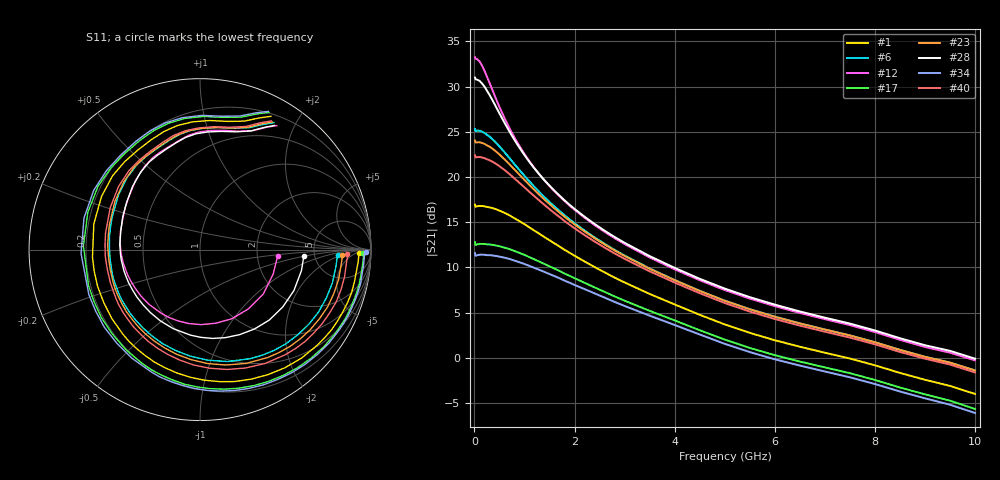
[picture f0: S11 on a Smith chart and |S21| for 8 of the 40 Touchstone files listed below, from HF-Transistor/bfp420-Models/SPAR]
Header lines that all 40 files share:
! Infineon Technologies  Discrete & RF Semiconductors
! BFP420
! Common Emitter S-Parameters:  Nov 2009
# GHz  S  MA  R  50
!  f  S11  S21  S12  S22
! GHz  MAG  ANG  MAG  ANG  MAG  ANG  MAG  ANG
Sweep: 10 MHz to 10 GHz
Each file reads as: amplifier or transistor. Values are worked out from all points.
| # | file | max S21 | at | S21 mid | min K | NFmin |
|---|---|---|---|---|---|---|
| 1 | 2p1V52M0.s2p | 17.0 dB | 10 MHz | 12.3 dB at 1.7 GHz | -0.08 | 0.53 dB |
| 2 | 2p1V52M5.s2p | 18.7 dB | 10 MHz | 13.4 dB at 1.7 GHz | 0.02 | 0.55 dB |
| 3 | 2p1V53M0.s2p | 20.2 dB | 10 MHz | 14.1 dB at 1.7 GHz | -0.02 | 0.57 dB |
| 4 | 2p1V54M0.s2p | 22.4 dB | 10 MHz | 15.1 dB at 1.7 GHz | -0.12 | 0.61 dB |
| 5 | 2p1V55M0.s2p | 24.0 dB | 10 MHz | 15.8 dB at 1.7 GHz | 0.05 | 0.66 dB |
| 6 | 2p1V56M0.s2p | 25.3 dB | 10 MHz | 16.2 dB at 1.7 GHz | 0.06 | 0.70 dB |
| 7 | 2p1V58M0.s2p | 27.3 dB | 10 MHz | 16.8 dB at 1.7 GHz | 0.08 | 0.79 dB |
| 8 | 2p1V59M0.s2p | 28.0 dB | 10 MHz | 17.0 dB at 1.7 GHz | 0.09 | - |
| 9 | 2p1V512M.s2p | 29.7 dB | 10 MHz | 17.4 dB at 1.7 GHz | 0.11 | 0.95 dB |
| 10 | 2p1V515M.s2p | 31.0 dB | 10 MHz | 17.6 dB at 1.7 GHz | 0.13 | 1.06 dB |
| 11 | 2p1V520M.s2p | 32.3 dB | 10 MHz | 17.8 dB at 1.7 GHz | 0.18 | 1.23 dB |
| 12 | 2p1V525M.s2p | 33.2 dB | 10 MHz | 17.9 dB at 1.7 GHz | 0.21 | 1.38 dB |
| 13 | 2p1V530M.s2p | 33.9 dB | 10 MHz | 17.9 dB at 1.7 GHz | 0.25 | 1.51 dB |
| 14 | 2p1V535M.s2p | 34.3 dB | 10 MHz | 17.8 dB at 1.7 GHz | 0.27 | 1.64 dB |
| 15 | 2p2V00M5.s2p | 5.3 dB | 10 MHz | 3.5 dB at 1.7 GHz | 0.00 | 0.68 dB |
| 16 | 2p2V01M0.s2p | 11.7 dB | 10 MHz | 8.8 dB at 1.7 GHz | -0.35 | 0.53 dB |
| 17 | 2p2V01M2.s2p | 12.8 dB | 10 MHz | 9.6 dB at 1.7 GHz | -0.60 | 0.53 dB |
| 18 | 2p2V01M5.s2p | 14.8 dB | 10 MHz | 11.1 dB at 1.7 GHz | -0.01 | 0.52 dB |
| 19 | 2p2V02M0.s2p | 17.0 dB | 10 MHz | 12.5 dB at 1.7 GHz | 0.01 | 0.53 dB |
| 20 | 2p2V02M5.s2p | 18.7 dB | 10 MHz | 13.6 dB at 1.7 GHz | -0.38 | 0.55 dB |
| 21 | 2p2V03M0.s2p | 20.2 dB | 10 MHz | 14.4 dB at 1.7 GHz | -0.14 | 0.57 dB |
| 22 | 2p2V04M0.s2p | 22.4 dB | 10 MHz | 15.4 dB at 1.7 GHz | -0.01 | 0.61 dB |
| 23 | 2p2V05M0.s2p | 24.0 dB | 10 MHz | 16.1 dB at 1.7 GHz | 0.05 | 0.66 dB |
| 24 | 2p2V06M0.s2p | 25.3 dB | 10 MHz | 16.5 dB at 1.7 GHz | 0.06 | 0.70 dB |
| 25 | 2p2V08M0.s2p | 27.3 dB | 10 MHz | 17.1 dB at 1.7 GHz | 0.08 | 0.79 dB |
| 26 | 2p2V09M0.s2p | 28.0 dB | 10 MHz | 17.3 dB at 1.7 GHz | 0.08 | - |
| 27 | 2p2V012M.s2p | 29.8 dB | 10 MHz | 17.7 dB at 1.7 GHz | 0.11 | 0.95 dB |
| 28 | 2p2V015M.s2p | 31.0 dB | 10 MHz | 17.9 dB at 1.7 GHz | 0.13 | 1.06 dB |
| 29 | 2p2V020M.s2p | 32.4 dB | 10 MHz | 18.1 dB at 1.7 GHz | 0.18 | 1.23 dB |
| 30 | 2p2V025M.s2p | 33.3 dB | 10 MHz | 18.2 dB at 1.7 GHz | 0.20 | 1.38 dB |
| 31 | 2p2V030M.s2p | 33.9 dB | 10 MHz | 18.3 dB at 1.7 GHz | 0.23 | 1.51 dB |
| 32 | 2p2V035M.s2p | 34.4 dB | 10 MHz | 18.2 dB at 1.7 GHz | 0.26 | 1.64 dB |
| 33 | 2p2V50M5.s2p | 5.7 dB | 10 MHz | 3.9 dB at 1.7 GHz | -0.08 | 0.68 dB |
| 34 | 2p2V51M0.s2p | 11.6 dB | 10 MHz | 8.8 dB at 1.7 GHz | -0.03 | 0.53 dB |
| 35 | 2p2V51M2.s2p | 13.2 dB | 10 MHz | 10.0 dB at 1.7 GHz | -0.01 | 0.53 dB |
| 36 | 2p2V51M5.s2p | 14.6 dB | 10 MHz | 11.1 dB at 1.7 GHz | -0.12 | 0.52 dB |
| 37 | 2p2V52M0.s2p | 17.1 dB | 10 MHz | 12.8 dB at 1.7 GHz | -0.05 | 0.53 dB |
| 38 | 2p2V52M5.s2p | 18.7 dB | 10 MHz | 13.7 dB at 1.7 GHz | 0.03 | 0.55 dB |
| 39 | 2p2V53M0.s2p | 20.2 dB | 10 MHz | 14.5 dB at 1.7 GHz | 0.03 | 0.57 dB |
| 40 | 2p2V54M0.s2p | 22.4 dB | 10 MHz | 15.6 dB at 1.7 GHz | 0.04 | 0.61 dB |

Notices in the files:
Praktikum_HF-Schaltungstechnik/HF-Transistor/bfp420-Models/SPAR/2p1V512M.s2p:
(c) 2009  Infineon Technologies AG, Munich
